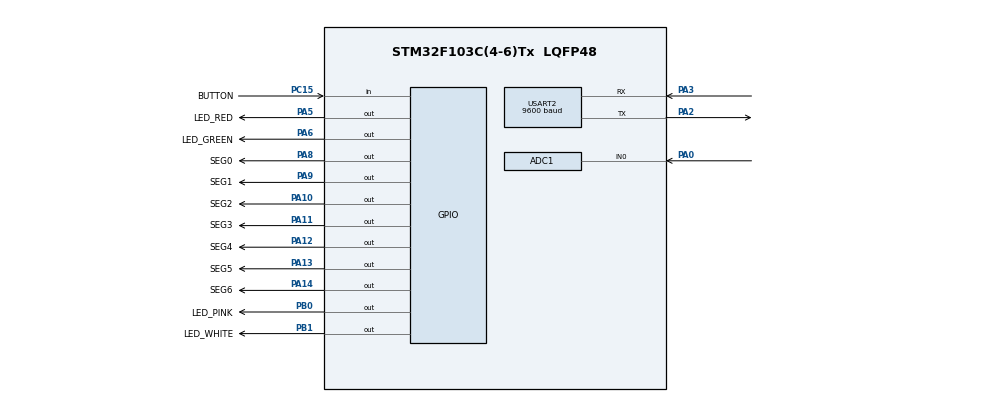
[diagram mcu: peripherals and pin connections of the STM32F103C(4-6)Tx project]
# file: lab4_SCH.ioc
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ADC1.Channel-0\#ChannelRegularConversion=ADC_CHANNEL_0
ADC1.ContinuousConvMode=ENABLE
ADC1.NbrOfConversionFlag=1
ADC1.Rank-0\#ChannelRegularConversion=1
ADC1.SamplingTime-0\#ChannelRegularConversion=ADC_SAMPLETIME_1CYCLE_5
ADC1.master=1
Mcu.Family=STM32F1
Mcu.Name=STM32F103C(4-6)Tx
Mcu.Package=LQFP48
NVIC.PriorityGroup=NVIC_PRIORITYGROUP_4
NVIC.TIM2_IRQn=true\:0\:0\:false\:false\:true\:true\:true
NVIC.USART2_IRQn=true\:0\:0\:false\:false\:true\:true\:true
PA0-WKUP.Signal=ADCx_IN0
PA10.GPIO_Label=SEG2
PA10.Signal=GPIO_Output
PA11.GPIO_Label=SEG3
PA11.Signal=GPIO_Output
PA12.GPIO_Label=SEG4
PA12.Signal=GPIO_Output
PA13.GPIO_Label=SEG5
PA13.Signal=GPIO_Output
PA14.GPIO_Label=SEG6
PA14.Signal=GPIO_Output
PA2.Mode=Asynchronous
PA2.Signal=USART2_TX
PA3.Mode=Asynchronous
PA3.Signal=USART2_RX
PA5.GPIO_Label=LED_RED
PA5.Signal=GPIO_Output
PA6.GPIO_Label=LED_GREEN
PA6.Signal=GPIO_Output
PA8.GPIO_Label=SEG0
PA8.Signal=GPIO_Output
PA9.GPIO_Label=SEG1
PA9.Signal=GPIO_Output
PB0.GPIO_Label=LED_PINK
PB0.Signal=GPIO_Output
PB1.GPIO_Label=LED_WHITE
PB1.Signal=GPIO_Output
PC15-OSC32_OUT.GPIO_Label=BUTTON
PC15-OSC32_OUT.GPIO_PuPd=GPIO_PULLUP
PC15-OSC32_OUT.Signal=GPIO_Input
ProjectManager.HeapSize=0x200
ProjectManager.StackSize=0x400
ProjectManager.TargetToolchain=STM32CubeIDE
RCC.APB1Freq_Value=8000000
RCC.APB2Freq_Value=8000000
SH.ADCx_IN0.0=ADC1_IN0,IN0
TIM2.Period=9
TIM2.Prescaler=7999
USART2.BaudRate=9600
USART2.VirtualMode=VM_ASYNC
VP_SYS_VS_ND.Mode=No_Debug
VP_TIM2_VS_ClockSourceINT.Mode=Internal
board=custom

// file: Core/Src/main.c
/* USER CODE BEGIN Header */
/**
  ******************************************************************************
  * @file           : main.c
  * @brief          : Main program body
  ******************************************************************************
  * @attention
  *
  * <h2><center>&copy; Copyright (c) 2023 STMicroelectronics.
  * All rights reserved.</center></h2>
  *
  * This software component is licensed by ST under BSD 3-Clause license,
  * the "License"; You may not use this file except in compliance with the
  * License. You may obtain a copy of the License at:
  *                        opensource.org/licenses/BSD-3-Clause
  *
  ******************************************************************************
  */
/* USER CODE END Header */
#include "main.h"

/* USER CODE BEGIN Includes */
#include <stdio.h>
#include "button.h"
#include "software_timer.h"
#include "led7seg.h"
#include "sched.h"
/* USER CODE END Includes */

ADC_HandleTypeDef hadc1;

TIM_HandleTypeDef htim2;

UART_HandleTypeDef huart2;

void SystemClock_Config(void);
static void MX_GPIO_Init(void);
static void MX_TIM2_Init(void);
static void MX_USART2_UART_Init(void);
static void MX_ADC1_Init(void);
/* USER CODE BEGIN PFP */
void Toggle_RED();
void Toggle_GREEN();
void Toggle_PINK();
void Toggle_WHITE();
void print_time();
/* USER CODE END PFP */

/* USER CODE BEGIN 0 */
uint8_t temp = 0;

void HAL_UART_RxCpltCallback(UART_HandleTypeDef *huart){
  if(huart->Instance == USART2){
	  HAL_UART_Transmit(&huart2, &temp, 1, 50);
	  HAL_UART_Receive_IT(&huart2, &temp, 1);
  }
}
/* USER CODE END 0 */

int main(void)
{

  /* MCU Configuration--------------------------------------------------------*/

  /* Reset of all peripherals, Initializes the Flash interface and the Systick. */
  HAL_Init();

  /* Configure the system clock */
  SystemClock_Config();

  /* Initialize all configured peripherals */
  MX_GPIO_Init();
  MX_TIM2_Init();
  MX_USART2_UART_Init();
  MX_ADC1_Init();
  /* USER CODE BEGIN 2 */
  HAL_TIM_Base_Start_IT(&htim2);
  /* USER CODE END 2 */

  /* Infinite loop */
  /* USER CODE BEGIN WHILE */
  SCH_Init();
  HAL_GPIO_WritePin(LED_RED_GPIO_Port, LED_RED_Pin, SET);
//  SCH_Add_Task(print_time, 200, 10);
//  if (SCH_Add_Task(Toggle_RED, 1000, 500))
//	  HAL_UART_Transmit(&huart2, (void *)"success", 7, 1000);
//
//  if (SCH_Add_Task(update7seg, 1000, 1000))
//	  HAL_UART_Transmit(&huart2, (void *)"success", 7, 1000);

  SCH_Add_Task(Toggle_RED, 1000, 500);
  SCH_Add_Task(update7seg, 1000, 1000);
  SCH_Add_Task(Toggle_GREEN, 1000, 1500);
  SCH_Add_Task(Toggle_PINK, 1000, 2000);
  SCH_Add_Task(Toggle_WHITE, 1000, 2500);

  while (1)
  {
	  display1LED();
	  SCH_Dispatch_Tasks();
    /* USER CODE END WHILE */

  }
}

void SystemClock_Config(void)
{
  RCC_OscInitTypeDef RCC_OscInitStruct = {0};
  RCC_ClkInitTypeDef RCC_ClkInitStruct = {0};
  RCC_PeriphCLKInitTypeDef PeriphClkInit = {0};

  /** Initializes the RCC Oscillators according to the specified parameters
  * in the RCC_OscInitTypeDef structure.
  */
  RCC_OscInitStruct.OscillatorType = RCC_OSCILLATORTYPE_HSI;
  RCC_OscInitStruct.HSIState = RCC_HSI_ON;
  RCC_OscInitStruct.HSICalibrationValue = RCC_HSICALIBRATION_DEFAULT;
  RCC_OscInitStruct.PLL.PLLState = RCC_PLL_NONE;
  if (HAL_RCC_OscConfig(&RCC_OscInitStruct) != HAL_OK)
  {
    Error_Handler();
  }
  /** Initializes the CPU, AHB and APB buses clocks
  */
  RCC_ClkInitStruct.ClockType = RCC_CLOCKTYPE_HCLK|RCC_CLOCKTYPE_SYSCLK
                              |RCC_CLOCKTYPE_PCLK1|RCC_CLOCKTYPE_PCLK2;
  RCC_ClkInitStruct.SYSCLKSource = RCC_SYSCLKSOURCE_HSI;
  RCC_ClkInitStruct.AHBCLKDivider = RCC_SYSCLK_DIV1;
  RCC_ClkInitStruct.APB1CLKDivider = RCC_HCLK_DIV1;
  RCC_ClkInitStruct.APB2CLKDivider = RCC_HCLK_DIV1;

  if (HAL_RCC_ClockConfig(&RCC_ClkInitStruct, FLASH_LATENCY_0) != HAL_OK)
  {
    Error_Handler();
  }
  PeriphClkInit.PeriphClockSelection = RCC_PERIPHCLK_ADC;
  PeriphClkInit.AdcClockSelection = RCC_ADCPCLK2_DIV2;
  if (HAL_RCCEx_PeriphCLKConfig(&PeriphClkInit) != HAL_OK)
  {
    Error_Handler();
  }
}

static void MX_ADC1_Init(void)
{

  ADC_ChannelConfTypeDef sConfig = {0};

  /** Common config
  */
  hadc1.Instance = ADC1;
  hadc1.Init.ScanConvMode = ADC_SCAN_DISABLE;
  hadc1.Init.ContinuousConvMode = ENABLE;
  hadc1.Init.DiscontinuousConvMode = DISABLE;
  hadc1.Init.ExternalTrigConv = ADC_SOFTWARE_START;
  hadc1.Init.DataAlign = ADC_DATAALIGN_RIGHT;
  hadc1.Init.NbrOfConversion = 1;
  if (HAL_ADC_Init(&hadc1) != HAL_OK)
  {
    Error_Handler();
  }
  /** Configure Regular Channel
  */
  sConfig.Channel = ADC_CHANNEL_0;
  sConfig.Rank = ADC_REGULAR_RANK_1;
  sConfig.SamplingTime = ADC_SAMPLETIME_1CYCLE_5;
  if (HAL_ADC_ConfigChannel(&hadc1, &sConfig) != HAL_OK)
  {
    Error_Handler();
  }

}

static void MX_TIM2_Init(void)
{

  TIM_ClockConfigTypeDef sClockSourceConfig = {0};
  TIM_MasterConfigTypeDef sMasterConfig = {0};

  htim2.Instance = TIM2;
  htim2.Init.Prescaler = 7999;
  htim2.Init.CounterMode = TIM_COUNTERMODE_UP;
  htim2.Init.Period = 9;
  htim2.Init.ClockDivision = TIM_CLOCKDIVISION_DIV1;
  htim2.Init.AutoReloadPreload = TIM_AUTORELOAD_PRELOAD_DISABLE;
  if (HAL_TIM_Base_Init(&htim2) != HAL_OK)
  {
    Error_Handler();
  }
  sClockSourceConfig.ClockSource = TIM_CLOCKSOURCE_INTERNAL;
  if (HAL_TIM_ConfigClockSource(&htim2, &sClockSourceConfig) != HAL_OK)
  {
    Error_Handler();
  }
  sMasterConfig.MasterOutputTrigger = TIM_TRGO_RESET;
  sMasterConfig.MasterSlaveMode = TIM_MASTERSLAVEMODE_DISABLE;
  if (HAL_TIMEx_MasterConfigSynchronization(&htim2, &sMasterConfig) != HAL_OK)
  {
    Error_Handler();
  }

}

static void MX_USART2_UART_Init(void)
{

  huart2.Instance = USART2;
  huart2.Init.BaudRate = 9600;
  huart2.Init.WordLength = UART_WORDLENGTH_8B;
  huart2.Init.StopBits = UART_STOPBITS_1;
  huart2.Init.Parity = UART_PARITY_NONE;
  huart2.Init.Mode = UART_MODE_TX_RX;
  huart2.Init.HwFlowCtl = UART_HWCONTROL_NONE;
  huart2.Init.OverSampling = UART_OVERSAMPLING_16;
  if (HAL_UART_Init(&huart2) != HAL_OK)
  {
    Error_Handler();
  }

}

static void MX_GPIO_Init(void)
{
  GPIO_InitTypeDef GPIO_InitStruct = {0};

  /* GPIO Ports Clock Enable */
  __HAL_RCC_GPIOC_CLK_ENABLE();
  __HAL_RCC_GPIOA_CLK_ENABLE();
  __HAL_RCC_GPIOB_CLK_ENABLE();

  /*Configure GPIO pin Output Level */
  HAL_GPIO_WritePin(GPIOA, LED_RED_Pin|LED_GREEN_Pin|SEG0_Pin|SEG1_Pin
                          |SEG2_Pin|SEG3_Pin|SEG4_Pin|SEG5_Pin
                          |SEG6_Pin, GPIO_PIN_RESET);

  /*Configure GPIO pin Output Level */
  HAL_GPIO_WritePin(GPIOB, LED_PINK_Pin|LED_WHITE_Pin, GPIO_PIN_RESET);

  /*Configure GPIO pin : BUTTON_Pin */
  GPIO_InitStruct.Pin = BUTTON_Pin;
  GPIO_InitStruct.Mode = GPIO_MODE_INPUT;
  GPIO_InitStruct.Pull = GPIO_PULLUP;
  HAL_GPIO_Init(BUTTON_GPIO_Port, &GPIO_InitStruct);

  /*Configure GPIO pins : LED_RED_Pin LED_GREEN_Pin SEG0_Pin SEG1_Pin
                           SEG2_Pin SEG3_Pin SEG4_Pin SEG5_Pin
                           SEG6_Pin */
  GPIO_InitStruct.Pin = LED_RED_Pin|LED_GREEN_Pin|SEG0_Pin|SEG1_Pin
                          |SEG2_Pin|SEG3_Pin|SEG4_Pin|SEG5_Pin
                          |SEG6_Pin;
  GPIO_InitStruct.Mode = GPIO_MODE_OUTPUT_PP;
  GPIO_InitStruct.Pull = GPIO_NOPULL;
  GPIO_InitStruct.Speed = GPIO_SPEED_FREQ_LOW;
  HAL_GPIO_Init(GPIOA, &GPIO_InitStruct);

  /*Configure GPIO pins : LED_PINK_Pin LED_WHITE_Pin */
  GPIO_InitStruct.Pin = LED_PINK_Pin|LED_WHITE_Pin;
  GPIO_InitStruct.Mode = GPIO_MODE_OUTPUT_PP;
  GPIO_InitStruct.Pull = GPIO_NOPULL;
  GPIO_InitStruct.Speed = GPIO_SPEED_FREQ_LOW;
  HAL_GPIO_Init(GPIOB, &GPIO_InitStruct);

}

/* USER CODE BEGIN 4 */
void Toggle_RED()
{
	HAL_GPIO_TogglePin(LED_RED_GPIO_Port, LED_RED_Pin);
}

void Toggle_GREEN()
{
	HAL_GPIO_TogglePin(LED_GREEN_GPIO_Port, LED_GREEN_Pin);
}

void Toggle_PINK()
{
	HAL_GPIO_TogglePin(LED_PINK_GPIO_Port, LED_PINK_Pin);
}

void Toggle_WHITE()
{
	HAL_GPIO_TogglePin(LED_WHITE_GPIO_Port, LED_WHITE_Pin);
}

void print_time()
{
	char str[12];
	if (get_time() % 10 == 0)
	{
		HAL_UART_Transmit(&huart2, (void *)str, sprintf(str, "%ld\r", get_time()), 500);
	}
}

void HAL_TIM_PeriodElapsedCallback(TIM_HandleTypeDef *htim)
{
	print_time();
	getKey();
	SCH_Update();
}
/* USER CODE END 4 */

void Error_Handler(void)
{
  __disable_irq();
  while (1)
  {
  }
}

/************************ (C) COPYRIGHT STMicroelectronics *****END OF FILE****/
